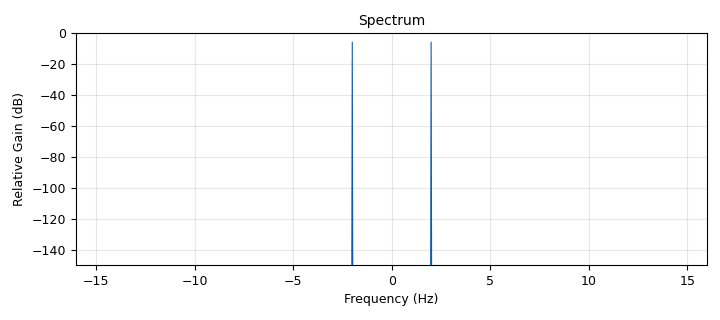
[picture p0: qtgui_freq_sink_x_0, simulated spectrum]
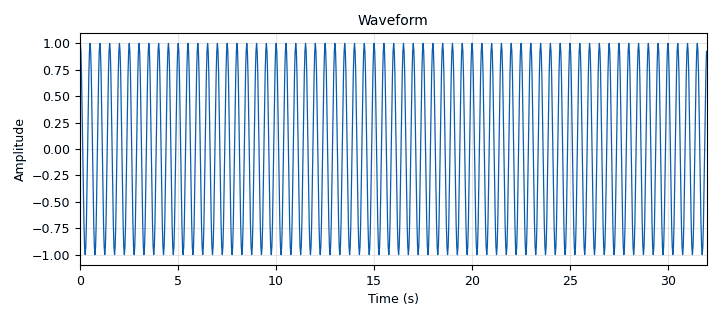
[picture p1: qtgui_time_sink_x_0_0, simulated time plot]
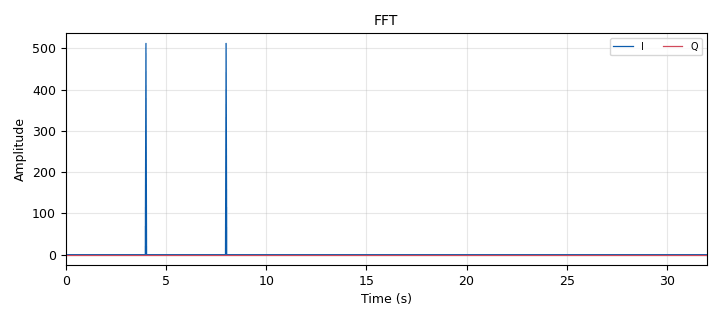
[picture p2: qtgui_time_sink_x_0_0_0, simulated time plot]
options:
  parameters:
    author: Qasim Chaudhari
    generate_options: qt_gui
    id: dft_leakage_true_spectrum
    output_language: python
    title: DFT Leakage and True Spectrum
  states: {}

blocks:
- name: nfft
  id: variable
  parameters:
    value: '1024'
  states: {}
- name: samp_rate
  id: variable
  parameters:
    value: '32'
  states: {}
- name: signal_freq
  id: variable_qtgui_range
  parameters:
    label: Signal Frequency
    orient: Qt.Horizontal
    start: '-nfft/2'
    step: '0.1'
    stop: nfft/2
    value: '2'
  states: {}
- name: analog_sig_source_x_0
  id: analog_sig_source_x
  parameters:
    amp: '1'
    freq: signal_freq
    offset: '0'
    phase: 0*pi/2
    samp_rate: samp_rate
    type: float
    waveform: analog.GR_COS_WAVE
  states: {}
- name: blocks_float_to_complex_0
  id: blocks_float_to_complex
  parameters: {}
  states: {}
- name: blocks_stream_to_vector_0
  id: blocks_stream_to_vector
  parameters:
    num_items: nfft
    type: complex
  states: {}
- name: blocks_throttle_0
  id: blocks_throttle
  parameters:
    samples_per_second: '8000'
    type: float
  states: {}
- name: blocks_vector_to_stream_0
  id: blocks_vector_to_stream
  parameters:
    num_items: nfft
    type: complex
  states: {}
- name: fft_vxx_0
  id: fft_vxx
  parameters:
    fft_size: nfft
    forward: 'True'
    shift: 'True'
    type: complex
    window: window.rectangular(nfft)
  states: {}
- name: import_0
  id: import
  parameters:
    imports: "\n\nfrom math import pi"
  states: {}
- name: qtgui_freq_sink_x_0
  id: qtgui_freq_sink_x
  parameters:
    average: '0.2'
    bw: samp_rate
    ctrlpanel: 'True'
    fc: '0'
    fftsize: '1024'
    grid: 'True'
    gui_hint: tab@2
    legend: 'False'
    name: Spectrum
    type: complex
    wintype: firdes.WIN_RECTANGULAR
    ymax: '0'
    ymin: '-150'
  states: {}
- name: qtgui_time_sink_x_0_0
  id: qtgui_time_sink_x
  parameters:
    autoscale: 'True'
    ctrlpanel: 'True'
    grid: 'True'
    gui_hint: tab@0
    label1: Cosine Wave
    legend: 'False'
    name: Waveform
    size: nfft
    srate: samp_rate
    type: float
    update_time: '0.01'
  states: {}
- name: qtgui_time_sink_x_0_0_0
  id: qtgui_time_sink_x
  parameters:
    autoscale: 'True'
    ctrlpanel: 'True'
    grid: 'True'
    gui_hint: tab@1
    label1: I
    label2: Q
    name: FFT
    size: nfft
    srate: samp_rate
    type: complex
    update_time: '0.01'
  states: {}
- name: tab
  id: qtgui_tab_widget
  parameters:
    label0: Time
    label1: FFT
    label2: Spectrum
    num_tabs: '3'
  states: {}

connections:
- [analog_sig_source_x_0, '0', blocks_throttle_0, '0']
- [blocks_float_to_complex_0, '0', blocks_stream_to_vector_0, '0']
- [blocks_float_to_complex_0, '0', qtgui_freq_sink_x_0, '0']
- [blocks_stream_to_vector_0, '0', fft_vxx_0, '0']
- [blocks_throttle_0, '0', blocks_float_to_complex_0, '0']
- [blocks_throttle_0, '0', qtgui_time_sink_x_0_0, '0']
- [blocks_vector_to_stream_0, '0', qtgui_time_sink_x_0_0_0, '0']
- [fft_vxx_0, '0', blocks_vector_to_stream_0, '0']

metadata:
  file_format: 1
